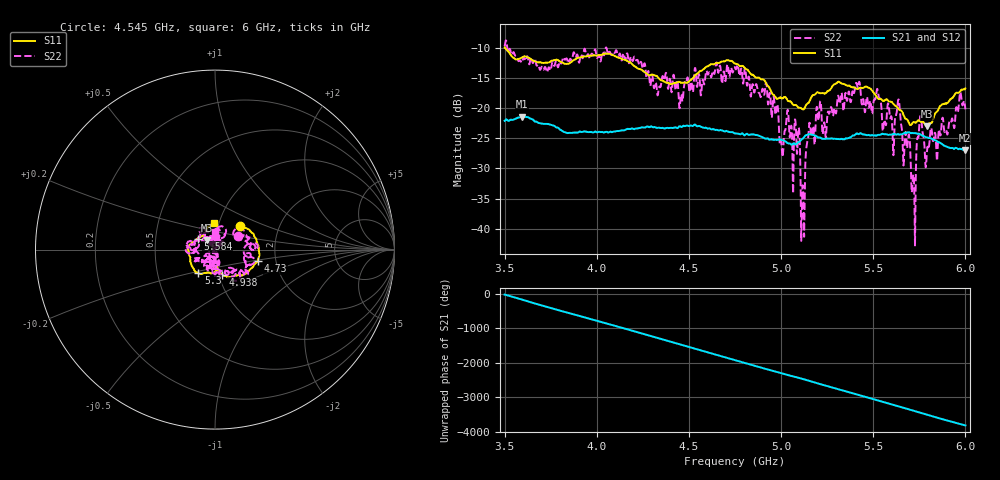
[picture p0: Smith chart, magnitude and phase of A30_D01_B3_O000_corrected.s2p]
! Created with skrf 1.9.0 (http://scikit-rf.org).
# Hz S RI R 50.0
!freq ReS11 ImS11 ReS21 ImS21 ReS12 ImS12 ReS22 ImS22
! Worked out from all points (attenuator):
!   1601 points, 3.5 GHz to 6 GHz, reference 50 ohm
!   highest |S21| = -21.40 dB at 3.592 GHz (marker M1); lowest = -27.0 dB at 5.998 GHz (marker M2)
!   lowest |S11| = -23.0 dB at 5.791 GHz (marker M3), VSWR 1.15, Z = 45.4 + j4.93 ohm
!   |S11| at or under -10 dB: 3.501 GHz to end of sweep
!   |S22| runs from -42.9 to -8.8 dB; largest |S21 - S12| = 0.0012
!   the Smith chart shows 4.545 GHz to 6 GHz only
!   S11 on the Smith chart (normalised r, x): 4.545 GHz: 1.27, +0.35; 4.73 GHz: 1.61, -0.22; 4.938 GHz: 1.04, -0.30; 5.3 GHz: 0.80, -0.22; 5.584 GHz: 0.82, +0.10; 6 GHz: 0.95, +0.28
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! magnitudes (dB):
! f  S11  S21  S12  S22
! 3.5 GHz  -10.0  -22.1  -22.1  -9.7
! 3.592 GHz  -11.6  -21.4  -21.4  -12.5
! 3.917 GHz  -11.6  -24.0  -24.0  -11.2
! 4.334 GHz  -15.0  -23.3  -23.2  -17.1
! 4.545 GHz  -14.2  -23.0  -23.1  -16.5
! 4.73 GHz  -12.2  -24.0  -23.9  -13.3
! 4.75 GHz  -12.6  -24.2  -24.1  -13.3
! 4.938 GHz  -16.7  -25.2  -25.2  -17.5
! 5.003 GHz  -18.4  -25.3  -25.3  -26.5
! 5.088 GHz  -19.7  -25.8  -25.8  -27.4
! 5.117 GHz  -20.2  -25.1  -25.0  -32.8
! 5.145 GHz  -19.2  -24.4  -24.4  -25.1
! 5.167 GHz  -18.0  -24.4  -24.4  -24.4
! 5.3 GHz  -15.9  -25.1  -25.1  -20.6
! 5.416 GHz  -16.8  -24.2  -24.3  -16.7
! 5.584 GHz  -18.9  -24.4  -24.4  -19.6
! 5.641 GHz  -20.3  -24.4  -24.4  -19.0
! 5.717 GHz  -22.3  -24.2  -24.1  -31.0
! 5.752 GHz  -22.1  -24.3  -24.3  -22.1
! 5.791 GHz  -23.0  -24.8  -24.8  -27.4
! 5.998 GHz  -16.8  -27.0  -26.9  -19.8
! 6 GHz  -16.7  -27.0  -27.0  -20.2
